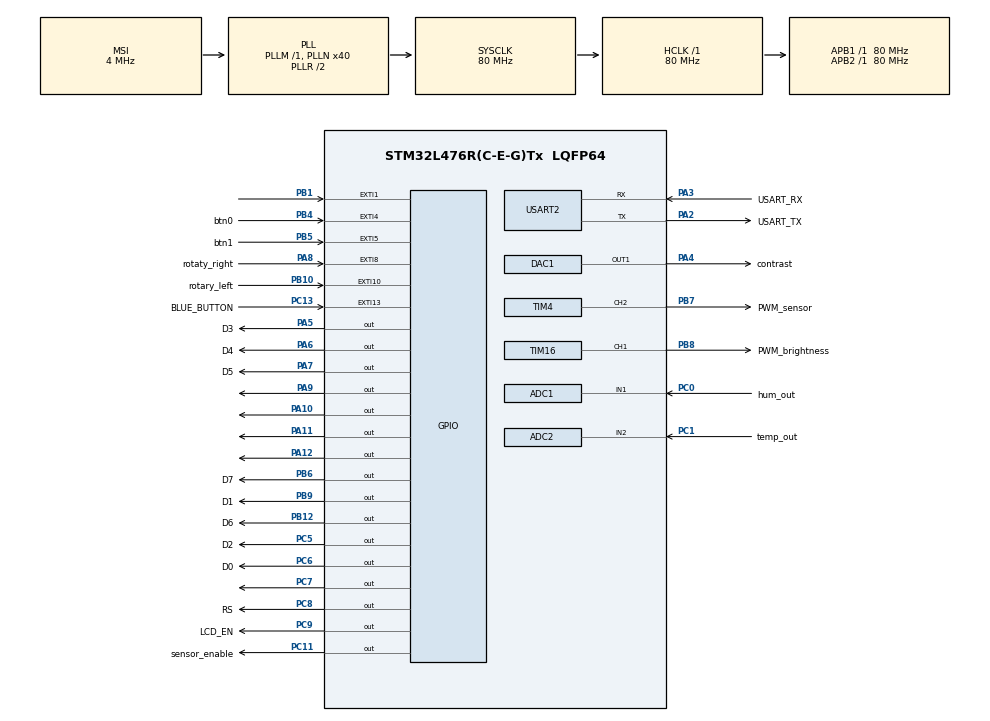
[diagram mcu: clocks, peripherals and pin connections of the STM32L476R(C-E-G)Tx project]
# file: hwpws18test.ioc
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ADC1.Channel-1\#ChannelRegularConversion=ADC_CHANNEL_1
ADC1.ClockPrescaler=ADC_CLOCK_ASYNC_DIV1
ADC1.ContinuousConvMode=DISABLE
ADC1.DMAContinuousRequests=DISABLE
ADC1.DataAlign=ADC_DATAALIGN_RIGHT
ADC1.DiscontinuousConvMode=DISABLE
ADC1.EOCSelection=ADC_EOC_SINGLE_CONV
ADC1.EnableAnalogWatchDog1=false
ADC1.EnableAnalogWatchDog2=false
ADC1.EnableAnalogWatchDog3=false
ADC1.EnableInjectedConversion=DISABLE
ADC1.EnableRegularConversion=ENABLE
ADC1.ExternalTrigConv=ADC_SOFTWARE_START
ADC1.ExternalTrigConvEdge=ADC_EXTERNALTRIGCONVEDGE_NONE
ADC1.LowPowerAutoWait=DISABLE
ADC1.NbrOfConversion=2
ADC1.NbrOfConversionFlag=1
ADC1.OffsetNumber-1\#ChannelRegularConversion=ADC_OFFSET_NONE
ADC1.Overrun=ADC_OVR_DATA_PRESERVED
ADC1.OversamplingMode=ENABLE
ADC1.Rank-1\#ChannelRegularConversion=2
ADC1.Ratio=ADC_OVERSAMPLING_RATIO_16
ADC1.Resolution=ADC_RESOLUTION_12B
ADC1.SamplingTime-1\#ChannelRegularConversion=ADC_SAMPLETIME_2CYCLES_5
ADC1.ScanConvMode=ADC_SCAN_ENABLE
ADC1.master=1
ADC2.Channel-4\#ChannelRegularConversion=ADC_CHANNEL_2
ADC2.ClockPrescaler=ADC_CLOCK_ASYNC_DIV1
ADC2.ContinuousConvMode=DISABLE
ADC2.DMAContinuousRequests=DISABLE
ADC2.DataAlign=ADC_DATAALIGN_RIGHT
ADC2.DiscontinuousConvMode=DISABLE
ADC2.EOCSelection=ADC_EOC_SINGLE_CONV
ADC2.EnableAnalogWatchDog1=false
ADC2.EnableAnalogWatchDog2=false
ADC2.EnableAnalogWatchDog3=false
ADC2.EnableInjectedConversion=DISABLE
ADC2.EnableRegularConversion=ENABLE
ADC2.ExternalTrigConv=ADC_SOFTWARE_START
ADC2.ExternalTrigConvEdge=ADC_EXTERNALTRIGCONVEDGE_NONE
ADC2.LowPowerAutoWait=DISABLE
ADC2.NbrOfConversion=1
ADC2.NbrOfConversionFlag=1
ADC2.OffsetNumber-4\#ChannelRegularConversion=ADC_OFFSET_NONE
ADC2.Overrun=ADC_OVR_DATA_PRESERVED
ADC2.OversamplingMode=ENABLE
ADC2.OversamplingStopReset=ADC_REGOVERSAMPLING_CONTINUED_MODE
ADC2.Rank-4\#ChannelRegularConversion=1
ADC2.Ratio=ADC_OVERSAMPLING_RATIO_16
ADC2.Resolution=ADC_RESOLUTION_12B
ADC2.RightBitShift=ADC_RIGHTBITSHIFT_NONE
ADC2.SamplingTime-4\#ChannelRegularConversion=ADC_SAMPLETIME_2CYCLES_5
ADC2.ScanConvMode=ADC_SCAN_DISABLE
ADC2.TriggeredMode=ADC_TRIGGEREDMODE_SINGLE_TRIGGER
FREERTOS.INCLUDE_uxTaskPriorityGet=0
FREERTOS.INCLUDE_vTaskDelayUntil=1
FREERTOS.INCLUDE_vTaskDelete=0
FREERTOS.INCLUDE_vTaskPrioritySet=0
FREERTOS.INCLUDE_xTaskGetSchedulerState=0
FREERTOS.MEMORY_ALLOCATION=1
FREERTOS.Queues01=defaultQueue,4,uint16_t,0,Static,defaultQueueBuffer,defaultQueueControlBlock;auxQueue,4,uint16_t,0,Static,auxQueueBuffer,auxQueueControlBlock
FREERTOS.Tasks01=defaultTask,0,512,defaultTaskFxn,Default,NULL,Static,defaultTaskBuffer,defaultTaskControlBlock;auxTask,0,512,auxTaskFxn,Default,NULL,Static,auxTaskFxnBuffer,auxTaskFxnControlBlock
FREERTOS.Timers01=timer01,timer01Callback,osTimerOnce,Default,NULL,Static,timer01ControlBlock
FREERTOS.configENABLE_BACKWARD_COMPATIBILITY=0
FREERTOS.configIDLE_SHOULD_YIELD=0
FREERTOS.configUSE_TICKLESS_IDLE=1
FREERTOS.configUSE_TIMERS=1
Mcu.Family=STM32L4
Mcu.Name=STM32L476R(C-E-G)Tx
Mcu.Package=LQFP64
NVIC.EXTI15_10_IRQn=true\:5\:0\:false\:false\:true\:true\:true
NVIC.EXTI1_IRQn=true\:0\:0\:false\:false\:true\:false\:true
NVIC.EXTI4_IRQn=true\:5\:0\:false\:false\:true\:true\:true
NVIC.EXTI9_5_IRQn=true\:5\:0\:false\:false\:true\:true\:true
NVIC.PriorityGroup=NVIC_PRIORITYGROUP_4
NVIC.TIM1_TRG_COM_TIM17_IRQn=true\:0\:0\:false\:false\:true\:false\:false
NVIC.TimeBase=TIM1_TRG_COM_TIM17_IRQn
NVIC.TimeBaseIP=TIM17
PA10.Signal=GPIO_Output
PA11.Signal=GPIO_Output
PA12.Signal=GPIO_Output
PA13\ (JTMS-SWDIO).GPIO_Label=TMS
PA13\ (JTMS-SWDIO).Mode=Serial_Wire
PA13\ (JTMS-SWDIO).Signal=SYS_JTMS-SWDIO
PA14\ (JTCK-SWCLK).GPIO_Label=TCK
PA14\ (JTCK-SWCLK).Mode=Serial_Wire
PA14\ (JTCK-SWCLK).Signal=SYS_JTCK-SWCLK
PA2.GPIO_Label=USART_TX
PA2.GPIO_PuPd=GPIO_NOPULL
PA2.GPIO_Speed=GPIO_SPEED_FREQ_VERY_HIGH
PA2.Mode=Asynchronous
PA2.Signal=USART2_TX
PA3.GPIO_Label=USART_RX
PA3.GPIO_PuPd=GPIO_NOPULL
PA3.GPIO_Speed=GPIO_SPEED_FREQ_VERY_HIGH
PA3.Mode=Asynchronous
PA3.Signal=USART2_RX
PA4.GPIO_Label=contrast
PA4.Signal=COMP_DAC11_group
PA5.GPIO_Label=D3
PA5.GPIO_PuPd=GPIO_PULLDOWN
PA5.Signal=GPIO_Output
PA6.GPIO_Label=D4
PA6.GPIO_PuPd=GPIO_NOPULL
PA6.Signal=GPIO_Output
PA7.GPIO_Label=D5
PA7.GPIO_PuPd=GPIO_NOPULL
PA7.Signal=GPIO_Output
PA8.GPIO_Label=rotaty_right
PA8.GPIO_ModeDefaultEXTI=GPIO_MODE_IT_FALLING
PA8.GPIO_PuPd=GPIO_PULLUP
PA8.Signal=GPXTI8
PA9.Signal=GPIO_Output
PB1.Signal=GPXTI1
PB10.GPIO_Label=rotary_left
PB10.GPIO_ModeDefaultEXTI=GPIO_MODE_IT_FALLING
PB10.GPIO_PuPd=GPIO_PULLUP
PB10.Signal=GPXTI10
PB12.GPIO_Label=D6
PB12.Signal=GPIO_Output
PB3\ (JTDO-TRACESWO).GPIO_Label=SWO
PB3\ (JTDO-TRACESWO).Signal=SYS_JTDO-SWO
PB4\ (NJTRST).GPIO_Label=btn0
PB4\ (NJTRST).GPIO_ModeDefaultEXTI=GPIO_MODE_IT_FALLING
PB4\ (NJTRST).GPIO_PuPd=GPIO_PULLUP
PB4\ (NJTRST).Signal=GPXTI4
PB5.GPIO_Label=btn1
PB5.GPIO_ModeDefaultEXTI=GPIO_MODE_IT_FALLING
PB5.GPIO_PuPd=GPIO_PULLUP
PB5.Signal=GPXTI5
PB6.GPIO_Label=D7
PB6.GPIO_PuPd=GPIO_NOPULL
PB6.Signal=GPIO_Output
PB7.GPIO_Label=PWM_sensor
PB7.Signal=S_TIM4_CH2
PB8.GPIO_Label=PWM_brightness
PB8.Signal=S_TIM16_CH1
PB9.GPIO_Label=D1
PB9.GPIO_PuPd=GPIO_PULLDOWN
PB9.Signal=GPIO_Output
PC0.GPIO_Label=hum_out
PC0.Signal=ADCx_IN1
PC1.GPIO_Label=temp_out
PC1.Signal=ADCx_IN2
PC11.GPIO_Label=sensor_enable
PC11.GPIO_PuPd=GPIO_PULLUP
PC11.Signal=GPIO_Output
PC13.GPIO_Label=BLUE_BUTTON
PC13.Signal=GPXTI13
PC14-OSC32_IN\ (PC14).Mode=LSE-External-Oscillator
PC14-OSC32_IN\ (PC14).Signal=RCC_OSC32_IN
PC15-OSC32_OUT\ (PC15).Mode=LSE-External-Oscillator
PC15-OSC32_OUT\ (PC15).Signal=RCC_OSC32_OUT
PC5.GPIO_Label=D2
PC5.GPIO_PuPd=GPIO_PULLDOWN
PC5.Signal=GPIO_Output
PC6.GPIO_Label=D0
PC6.GPIO_PuPd=GPIO_PULLDOWN
PC6.Signal=GPIO_Output
PC7.Signal=GPIO_Output
PC8.GPIO_Label=RS
PC8.Signal=GPIO_Output
PC9.GPIO_Label=LCD_EN
PC9.Signal=GPIO_Output
PH0-OSC_IN\ (PH0).Signal=RCC_OSC_IN
PH1-OSC_OUT\ (PH1).Signal=RCC_OSC_OUT
ProjectManager.HeapSize=0x200
ProjectManager.StackSize=0x400
ProjectManager.TargetToolchain=TrueSTUDIO
RCC.ADCFreq_Value=32000000
RCC.AHBFreq_Value=80000000
RCC.APB1Freq_Value=80000000
RCC.APB1TimFreq_Value=80000000
RCC.APB2Freq_Value=80000000
RCC.APB2TimFreq_Value=80000000
RCC.CortexFreq_Value=80000000
RCC.FLatency=FLASH_LATENCY_4
RCC.HCLKFreq_Value=80000000
RCC.HSE_VALUE=8000000
RCC.HSI_VALUE=16000000
RCC.MSIAutoCalibration=DISABLED
RCC.MSI_VALUE=4000000
RCC.PLLN=40
RCC.PLLSAI1N=16
RCC.PREFETCH_ENABLE=1
RCC.SYSCLKFreq_VALUE=80000000
RCC.SYSCLKSource=RCC_SYSCLKSOURCE_PLLCLK
RCC.USBFreq_Value=32000000
RCC.VCOOutputFreq_Value=160000000
SH.ADCx_IN1.0=ADC1_IN1,IN1-Single-Ended
SH.ADCx_IN2.0=ADC2_IN2,IN2-Single-Ended
SH.COMP_DAC11_group.0=DAC1_OUT1,DAC_OUT1
SH.S_TIM16_CH1.0=TIM16_CH1,PWM Generation1 CH1
SH.S_TIM4_CH2.0=TIM4_CH2,PWM Generation2 CH2
TIM16.Channel=TIM_CHANNEL_1
TIM16.Period=8000
TIM16.Pulse=4000
TIM4.AutoReloadPreload=TIM_AUTORELOAD_PRELOAD_ENABLE
TIM4.Channel-PWM\ Generation2\ CH2=TIM_CHANNEL_2
TIM4.OCFastMode_PWM-PWM\ Generation2\ CH2=TIM_OCFAST_ENABLE
TIM4.Period=190
TIM4.Pulse-PWM\ Generation2\ CH2=55
USART2.VirtualMode-Asynchronous=VM_ASYNC
VP_FREERTOS_VS_ENABLE.Mode=Enabled
VP_SYS_VS_tim17.Mode=TIM17
VP_TIM16_VS_ClockSourceINT.Mode=Enable_Timer
board=custom

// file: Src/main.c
/**
  ******************************************************************************
  * @file           : main.c
  * @brief          : Main program body
  ******************************************************************************
  * This notice applies to any and all portions of this file
  * that are not between comment pairs USER CODE BEGIN and
  * USER CODE END. Other portions of this file, whether
  * inserted by the user or by software development tools
  * are owned by their respective copyright owners.
  *
  * Copyright (c) 2019 STMicroelectronics International N.V.
  * All rights reserved.
  *
  * Redistribution and use in source and binary forms, with or without
  * modification, are permitted, provided that the following conditions are met:
  *
  * 1. Redistribution of source code must retain the above copyright notice,
  *    this list of conditions and the following disclaimer.
  * 2. Redistributions in binary form must reproduce the above copyright notice,
  *    this list of conditions and the following disclaimer in the documentation
  *    and/or other materials provided with the distribution.
  * 3. Neither the name of STMicroelectronics nor the names of other
  *    contributors to this software may be used to endorse or promote products
  *    derived from this software without specific written permission.
  * 4. This software, including modifications and/or derivative works of this
  *    software, must execute solely and exclusively on microcontroller or
  *    microprocessor devices manufactured by or for STMicroelectronics.
  * 5. Redistribution and use of this software other than as permitted under
  *    this license is void and will automatically terminate your rights under
  *    this license.
  *
  * THIS SOFTWARE IS PROVIDED BY STMICROELECTRONICS AND CONTRIBUTORS "AS IS"
  * AND ANY EXPRESS, IMPLIED OR STATUTORY WARRANTIES, INCLUDING, BUT NOT
  * LIMITED TO, THE IMPLIED WARRANTIES OF MERCHANTABILITY, FITNESS FOR A
  * PARTICULAR PURPOSE AND NON-INFRINGEMENT OF THIRD PARTY INTELLECTUAL PROPERTY
  * RIGHTS ARE DISCLAIMED TO THE FULLEST EXTENT PERMITTED BY LAW. IN NO EVENT
  * SHALL STMICROELECTRONICS OR CONTRIBUTORS BE LIABLE FOR ANY DIRECT, INDIRECT,
  * INCIDENTAL, SPECIAL, EXEMPLARY, OR CONSEQUENTIAL DAMAGES (INCLUDING, BUT NOT
  * LIMITED TO, PROCUREMENT OF SUBSTITUTE GOODS OR SERVICES; LOSS OF USE, DATA,
  * OR PROFITS; OR BUSINESS INTERRUPTION) HOWEVER CAUSED AND ON ANY THEORY OF
  * LIABILITY, WHETHER IN CONTRACT, STRICT LIABILITY, OR TORT (INCLUDING
  * NEGLIGENCE OR OTHERWISE) ARISING IN ANY WAY OUT OF THE USE OF THIS SOFTWARE,
  * EVEN IF ADVISED OF THE POSSIBILITY OF SUCH DAMAGE.
  *
  ******************************************************************************
  */
#include "main.h"
#include "stm32l4xx_hal.h"
#include "cmsis_os.h"

/* USER CODE BEGIN Includes */
#include <stdio.h>
#include "tm_stm32_hd44780.h"
/* USER CODE END Includes */

ADC_HandleTypeDef hadc1;
ADC_HandleTypeDef hadc2;

DAC_HandleTypeDef hdac1;

TIM_HandleTypeDef htim4;
TIM_HandleTypeDef htim16;

UART_HandleTypeDef huart2;

osThreadId defaultTaskHandle;
uint32_t defaultTaskBuffer[ 512 ];
osStaticThreadDef_t defaultTaskControlBlock;
osThreadId auxTaskHandle;
uint32_t auxTaskFxnBuffer[ 512 ];
osStaticThreadDef_t auxTaskFxnControlBlock;
osMessageQId defaultQueueHandle;
uint8_t defaultQueueBuffer[ 4 * sizeof( uint16_t ) ];
osStaticMessageQDef_t defaultQueueControlBlock;
osMessageQId auxQueueHandle;
uint8_t auxQueueBuffer[ 4 * sizeof( uint16_t ) ];
osStaticMessageQDef_t auxQueueControlBlock;
osTimerId timer01Handle;
osStaticTimerDef_t timer01ControlBlock;

/* USER CODE BEGIN PV */
/* Private variables ---------------------------------------------------------*/

/* USER CODE END PV */

void SystemClock_Config(void);
static void MX_GPIO_Init(void);
static void MX_DAC1_Init(void);
static void MX_TIM16_Init(void);
static void MX_ADC1_Init(void);
static void MX_USART2_UART_Init(void);
static void MX_TIM4_Init(void);
static void MX_ADC2_Init(void);
void defaultTaskFxn(void const * argument);
void auxTaskFxn(void const * argument);
void timer01Callback(void const * argument);

void HAL_TIM_MspPostInit(TIM_HandleTypeDef *htim);

/* USER CODE BEGIN PFP */
/* Private function prototypes -----------------------------------------------*/

/* USER CODE END PFP */

/* USER CODE BEGIN 0 */

struct Option{
	char name[8];
	uint32_t value;
	uint32_t incr;
	uint32_t min;
	uint32_t max;
};

/* USER CODE END 0 */

int main(void)
{

  /* MCU Configuration----------------------------------------------------------*/

  /* Reset of all peripherals, Initializes the Flash interface and the Systick. */
  HAL_Init();

  /* Configure the system clock */
  SystemClock_Config();

  /* Initialize all configured peripherals */
  MX_GPIO_Init();
  MX_DAC1_Init();
  MX_TIM16_Init();
  MX_ADC1_Init();
  MX_USART2_UART_Init();
  MX_TIM4_Init();
  MX_ADC2_Init();

  /* Create the timer(s) */
  /* definition and creation of timer01 */
  osTimerStaticDef(timer01, timer01Callback, &timer01ControlBlock);
  timer01Handle = osTimerCreate(osTimer(timer01), osTimerOnce, NULL);

  /* Create the thread(s) */
  /* definition and creation of defaultTask */
  osThreadStaticDef(defaultTask, defaultTaskFxn, osPriorityNormal, 0, 512, defaultTaskBuffer, &defaultTaskControlBlock);
  defaultTaskHandle = osThreadCreate(osThread(defaultTask), NULL);

  /* definition and creation of auxTask */
  osThreadStaticDef(auxTask, auxTaskFxn, osPriorityNormal, 0, 512, auxTaskFxnBuffer, &auxTaskFxnControlBlock);
  auxTaskHandle = osThreadCreate(osThread(auxTask), NULL);

  /* Create the queue(s) */
  /* definition and creation of defaultQueue */
  osMessageQStaticDef(defaultQueue, 4, uint16_t, defaultQueueBuffer, &defaultQueueControlBlock);
  defaultQueueHandle = osMessageCreate(osMessageQ(defaultQueue), NULL);

  /* definition and creation of auxQueue */
  osMessageQStaticDef(auxQueue, 4, uint16_t, auxQueueBuffer, &auxQueueControlBlock);
  auxQueueHandle = osMessageCreate(osMessageQ(auxQueue), NULL);

  /* Start scheduler */
  osKernelStart();

  /* We should never get here as control is now taken by the scheduler */

  /* Infinite loop */
	while (1)
	{

	}

}

void SystemClock_Config(void)
{

  RCC_OscInitTypeDef RCC_OscInitStruct;
  RCC_ClkInitTypeDef RCC_ClkInitStruct;
  RCC_PeriphCLKInitTypeDef PeriphClkInit;

    /**Initializes the CPU, AHB and APB busses clocks
    */
  RCC_OscInitStruct.OscillatorType = RCC_OSCILLATORTYPE_MSI;
  RCC_OscInitStruct.MSIState = RCC_MSI_ON;
  RCC_OscInitStruct.MSICalibrationValue = 0;
  RCC_OscInitStruct.MSIClockRange = RCC_MSIRANGE_6;
  RCC_OscInitStruct.PLL.PLLState = RCC_PLL_ON;
  RCC_OscInitStruct.PLL.PLLSource = RCC_PLLSOURCE_MSI;
  RCC_OscInitStruct.PLL.PLLM = 1;
  RCC_OscInitStruct.PLL.PLLN = 40;
  RCC_OscInitStruct.PLL.PLLP = RCC_PLLP_DIV7;
  RCC_OscInitStruct.PLL.PLLQ = RCC_PLLQ_DIV2;
  RCC_OscInitStruct.PLL.PLLR = RCC_PLLR_DIV2;
  if (HAL_RCC_OscConfig(&RCC_OscInitStruct) != HAL_OK)
  {
    _Error_Handler(__FILE__, __LINE__);
  }

    /**Initializes the CPU, AHB and APB busses clocks
    */
  RCC_ClkInitStruct.ClockType = RCC_CLOCKTYPE_HCLK|RCC_CLOCKTYPE_SYSCLK
                              |RCC_CLOCKTYPE_PCLK1|RCC_CLOCKTYPE_PCLK2;
  RCC_ClkInitStruct.SYSCLKSource = RCC_SYSCLKSOURCE_PLLCLK;
  RCC_ClkInitStruct.AHBCLKDivider = RCC_SYSCLK_DIV1;
  RCC_ClkInitStruct.APB1CLKDivider = RCC_HCLK_DIV1;
  RCC_ClkInitStruct.APB2CLKDivider = RCC_HCLK_DIV1;

  if (HAL_RCC_ClockConfig(&RCC_ClkInitStruct, FLASH_LATENCY_4) != HAL_OK)
  {
    _Error_Handler(__FILE__, __LINE__);
  }

  PeriphClkInit.PeriphClockSelection = RCC_PERIPHCLK_USART2|RCC_PERIPHCLK_ADC;
  PeriphClkInit.Usart2ClockSelection = RCC_USART2CLKSOURCE_PCLK1;
  PeriphClkInit.AdcClockSelection = RCC_ADCCLKSOURCE_PLLSAI1;
  PeriphClkInit.PLLSAI1.PLLSAI1Source = RCC_PLLSOURCE_MSI;
  PeriphClkInit.PLLSAI1.PLLSAI1M = 1;
  PeriphClkInit.PLLSAI1.PLLSAI1N = 16;
  PeriphClkInit.PLLSAI1.PLLSAI1P = RCC_PLLP_DIV7;
  PeriphClkInit.PLLSAI1.PLLSAI1Q = RCC_PLLQ_DIV2;
  PeriphClkInit.PLLSAI1.PLLSAI1R = RCC_PLLR_DIV2;
  PeriphClkInit.PLLSAI1.PLLSAI1ClockOut = RCC_PLLSAI1_ADC1CLK;
  if (HAL_RCCEx_PeriphCLKConfig(&PeriphClkInit) != HAL_OK)
  {
    _Error_Handler(__FILE__, __LINE__);
  }

    /**Configure the main internal regulator output voltage
    */
  if (HAL_PWREx_ControlVoltageScaling(PWR_REGULATOR_VOLTAGE_SCALE1) != HAL_OK)
  {
    _Error_Handler(__FILE__, __LINE__);
  }

    /**Configure the Systick interrupt time
    */
  HAL_SYSTICK_Config(HAL_RCC_GetHCLKFreq()/1000);

    /**Configure the Systick
    */
  HAL_SYSTICK_CLKSourceConfig(SYSTICK_CLKSOURCE_HCLK);

  /* SysTick_IRQn interrupt configuration */
  HAL_NVIC_SetPriority(SysTick_IRQn, 15, 0);
}

/* ADC1 init function */
static void MX_ADC1_Init(void)
{

  ADC_MultiModeTypeDef multimode;
  ADC_ChannelConfTypeDef sConfig;

    /**Common config
    */
  hadc1.Instance = ADC1;
  hadc1.Init.ClockPrescaler = ADC_CLOCK_ASYNC_DIV1;
  hadc1.Init.Resolution = ADC_RESOLUTION_12B;
  hadc1.Init.DataAlign = ADC_DATAALIGN_RIGHT;
  hadc1.Init.ScanConvMode = ADC_SCAN_ENABLE;
  hadc1.Init.EOCSelection = ADC_EOC_SINGLE_CONV;
  hadc1.Init.LowPowerAutoWait = DISABLE;
  hadc1.Init.ContinuousConvMode = DISABLE;
  hadc1.Init.NbrOfConversion = 2;
  hadc1.Init.DiscontinuousConvMode = DISABLE;
  hadc1.Init.ExternalTrigConv = ADC_SOFTWARE_START;
  hadc1.Init.ExternalTrigConvEdge = ADC_EXTERNALTRIGCONVEDGE_NONE;
  hadc1.Init.DMAContinuousRequests = DISABLE;
  hadc1.Init.Overrun = ADC_OVR_DATA_PRESERVED;
  hadc1.Init.OversamplingMode = ENABLE;
  hadc1.Init.Oversampling.Ratio = ADC_OVERSAMPLING_RATIO_16;
  hadc1.Init.Oversampling.RightBitShift = ADC_RIGHTBITSHIFT_NONE;
  hadc1.Init.Oversampling.TriggeredMode = ADC_TRIGGEREDMODE_SINGLE_TRIGGER;
  hadc1.Init.Oversampling.OversamplingStopReset = ADC_REGOVERSAMPLING_CONTINUED_MODE;
  if (HAL_ADC_Init(&hadc1) != HAL_OK)
  {
    _Error_Handler(__FILE__, __LINE__);
  }

    /**Configure the ADC multi-mode
    */
  multimode.Mode = ADC_MODE_INDEPENDENT;
  if (HAL_ADCEx_MultiModeConfigChannel(&hadc1, &multimode) != HAL_OK)
  {
    _Error_Handler(__FILE__, __LINE__);
  }

    /**Configure Regular Channel
    */
  sConfig.Channel = ADC_CHANNEL_1;
  sConfig.Rank = ADC_REGULAR_RANK_2;
  sConfig.SamplingTime = ADC_SAMPLETIME_2CYCLES_5;
  sConfig.SingleDiff = ADC_SINGLE_ENDED;
  sConfig.OffsetNumber = ADC_OFFSET_NONE;
  sConfig.Offset = 0;
  if (HAL_ADC_ConfigChannel(&hadc1, &sConfig) != HAL_OK)
  {
    _Error_Handler(__FILE__, __LINE__);
  }

}

/* ADC2 init function */
static void MX_ADC2_Init(void)
{

  ADC_ChannelConfTypeDef sConfig;

    /**Common config
    */
  hadc2.Instance = ADC2;
  hadc2.Init.ClockPrescaler = ADC_CLOCK_ASYNC_DIV1;
  hadc2.Init.Resolution = ADC_RESOLUTION_12B;
  hadc2.Init.DataAlign = ADC_DATAALIGN_RIGHT;
  hadc2.Init.ScanConvMode = ADC_SCAN_DISABLE;
  hadc2.Init.EOCSelection = ADC_EOC_SINGLE_CONV;
  hadc2.Init.LowPowerAutoWait = DISABLE;
  hadc2.Init.ContinuousConvMode = DISABLE;
  hadc2.Init.NbrOfConversion = 1;
  hadc2.Init.DiscontinuousConvMode = DISABLE;
  hadc2.Init.ExternalTrigConv = ADC_SOFTWARE_START;
  hadc2.Init.ExternalTrigConvEdge = ADC_EXTERNALTRIGCONVEDGE_NONE;
  hadc2.Init.DMAContinuousRequests = DISABLE;
  hadc2.Init.Overrun = ADC_OVR_DATA_PRESERVED;
  hadc2.Init.OversamplingMode = ENABLE;
  hadc2.Init.Oversampling.Ratio = ADC_OVERSAMPLING_RATIO_16;
  hadc2.Init.Oversampling.RightBitShift = ADC_RIGHTBITSHIFT_NONE;
  hadc2.Init.Oversampling.TriggeredMode = ADC_TRIGGEREDMODE_SINGLE_TRIGGER;
  hadc2.Init.Oversampling.OversamplingStopReset = ADC_REGOVERSAMPLING_CONTINUED_MODE;
  if (HAL_ADC_Init(&hadc2) != HAL_OK)
  {
    _Error_Handler(__FILE__, __LINE__);
  }

    /**Configure Regular Channel
    */
  sConfig.Channel = ADC_CHANNEL_2;
  sConfig.Rank = ADC_REGULAR_RANK_1;
  sConfig.SamplingTime = ADC_SAMPLETIME_2CYCLES_5;
  sConfig.SingleDiff = ADC_SINGLE_ENDED;
  sConfig.OffsetNumber = ADC_OFFSET_NONE;
  sConfig.Offset = 0;
  if (HAL_ADC_ConfigChannel(&hadc2, &sConfig) != HAL_OK)
  {
    _Error_Handler(__FILE__, __LINE__);
  }

}

/* DAC1 init function */
static void MX_DAC1_Init(void)
{

  DAC_ChannelConfTypeDef sConfig;

    /**DAC Initialization
    */
  hdac1.Instance = DAC1;
  if (HAL_DAC_Init(&hdac1) != HAL_OK)
  {
    _Error_Handler(__FILE__, __LINE__);
  }

    /**DAC channel OUT1 config
    */
  sConfig.DAC_SampleAndHold = DAC_SAMPLEANDHOLD_DISABLE;
  sConfig.DAC_Trigger = DAC_TRIGGER_NONE;
  sConfig.DAC_OutputBuffer = DAC_OUTPUTBUFFER_ENABLE;
  sConfig.DAC_ConnectOnChipPeripheral = DAC_CHIPCONNECT_DISABLE;
  sConfig.DAC_UserTrimming = DAC_TRIMMING_FACTORY;
  if (HAL_DAC_ConfigChannel(&hdac1, &sConfig, DAC_CHANNEL_1) != HAL_OK)
  {
    _Error_Handler(__FILE__, __LINE__);
  }

}

/* TIM4 init function */
static void MX_TIM4_Init(void)
{

  TIM_MasterConfigTypeDef sMasterConfig;
  TIM_OC_InitTypeDef sConfigOC;

  htim4.Instance = TIM4;
  htim4.Init.Prescaler = 0;
  htim4.Init.CounterMode = TIM_COUNTERMODE_UP;
  htim4.Init.Period = 190;
  htim4.Init.ClockDivision = TIM_CLOCKDIVISION_DIV1;
  htim4.Init.AutoReloadPreload = TIM_AUTORELOAD_PRELOAD_ENABLE;
  if (HAL_TIM_PWM_Init(&htim4) != HAL_OK)
  {
    _Error_Handler(__FILE__, __LINE__);
  }

  sMasterConfig.MasterOutputTrigger = TIM_TRGO_RESET;
  sMasterConfig.MasterSlaveMode = TIM_MASTERSLAVEMODE_DISABLE;
  if (HAL_TIMEx_MasterConfigSynchronization(&htim4, &sMasterConfig) != HAL_OK)
  {
    _Error_Handler(__FILE__, __LINE__);
  }

  sConfigOC.OCMode = TIM_OCMODE_PWM1;
  sConfigOC.Pulse = 55;
  sConfigOC.OCPolarity = TIM_OCPOLARITY_HIGH;
  sConfigOC.OCFastMode = TIM_OCFAST_ENABLE;
  if (HAL_TIM_PWM_ConfigChannel(&htim4, &sConfigOC, TIM_CHANNEL_2) != HAL_OK)
  {
    _Error_Handler(__FILE__, __LINE__);
  }

  HAL_TIM_MspPostInit(&htim4);

}

/* TIM16 init function */
static void MX_TIM16_Init(void)
{

  TIM_OC_InitTypeDef sConfigOC;
  TIM_BreakDeadTimeConfigTypeDef sBreakDeadTimeConfig;

  htim16.Instance = TIM16;
  htim16.Init.Prescaler = 0;
  htim16.Init.CounterMode = TIM_COUNTERMODE_UP;
  htim16.Init.Period = 8000;
  htim16.Init.ClockDivision = TIM_CLOCKDIVISION_DIV1;
  htim16.Init.RepetitionCounter = 0;
  htim16.Init.AutoReloadPreload = TIM_AUTORELOAD_PRELOAD_DISABLE;
  if (HAL_TIM_Base_Init(&htim16) != HAL_OK)
  {
    _Error_Handler(__FILE__, __LINE__);
  }

  if (HAL_TIM_PWM_Init(&htim16) != HAL_OK)
  {
    _Error_Handler(__FILE__, __LINE__);
  }

  sConfigOC.OCMode = TIM_OCMODE_PWM1;
  sConfigOC.Pulse = 4000;
  sConfigOC.OCPolarity = TIM_OCPOLARITY_HIGH;
  sConfigOC.OCNPolarity = TIM_OCNPOLARITY_HIGH;
  sConfigOC.OCFastMode = TIM_OCFAST_DISABLE;
  sConfigOC.OCIdleState = TIM_OCIDLESTATE_RESET;
  sConfigOC.OCNIdleState = TIM_OCNIDLESTATE_RESET;
  if (HAL_TIM_PWM_ConfigChannel(&htim16, &sConfigOC, TIM_CHANNEL_1) != HAL_OK)
  {
    _Error_Handler(__FILE__, __LINE__);
  }

  sBreakDeadTimeConfig.OffStateRunMode = TIM_OSSR_DISABLE;
  sBreakDeadTimeConfig.OffStateIDLEMode = TIM_OSSI_DISABLE;
  sBreakDeadTimeConfig.LockLevel = TIM_LOCKLEVEL_OFF;
  sBreakDeadTimeConfig.DeadTime = 0;
  sBreakDeadTimeConfig.BreakState = TIM_BREAK_DISABLE;
  sBreakDeadTimeConfig.BreakPolarity = TIM_BREAKPOLARITY_HIGH;
  sBreakDeadTimeConfig.BreakFilter = 0;
  sBreakDeadTimeConfig.AutomaticOutput = TIM_AUTOMATICOUTPUT_DISABLE;
  if (HAL_TIMEx_ConfigBreakDeadTime(&htim16, &sBreakDeadTimeConfig) != HAL_OK)
  {
    _Error_Handler(__FILE__, __LINE__);
  }

  HAL_TIM_MspPostInit(&htim16);

}

/* USART2 init function */
static void MX_USART2_UART_Init(void)
{

  huart2.Instance = USART2;
  huart2.Init.BaudRate = 115200;
  huart2.Init.WordLength = UART_WORDLENGTH_8B;
  huart2.Init.StopBits = UART_STOPBITS_1;
  huart2.Init.Parity = UART_PARITY_NONE;
  huart2.Init.Mode = UART_MODE_TX_RX;
  huart2.Init.HwFlowCtl = UART_HWCONTROL_NONE;
  huart2.Init.OverSampling = UART_OVERSAMPLING_16;
  huart2.Init.OneBitSampling = UART_ONE_BIT_SAMPLE_DISABLE;
  huart2.AdvancedInit.AdvFeatureInit = UART_ADVFEATURE_NO_INIT;
  if (HAL_UART_Init(&huart2) != HAL_OK)
  {
    _Error_Handler(__FILE__, __LINE__);
  }

}

/** Configure pins as
        * Analog
        * Input
        * Output
        * EVENT_OUT
        * EXTI
*/
static void MX_GPIO_Init(void)
{

  GPIO_InitTypeDef GPIO_InitStruct;

  /* GPIO Ports Clock Enable */
  __HAL_RCC_GPIOC_CLK_ENABLE();
  __HAL_RCC_GPIOH_CLK_ENABLE();
  __HAL_RCC_GPIOA_CLK_ENABLE();
  __HAL_RCC_GPIOB_CLK_ENABLE();

  /*Configure GPIO pin Output Level */
  HAL_GPIO_WritePin(GPIOA, D3_Pin|D4_Pin|D5_Pin|GPIO_PIN_9
                          |GPIO_PIN_10|GPIO_PIN_11|GPIO_PIN_12, GPIO_PIN_RESET);

  /*Configure GPIO pin Output Level */
  HAL_GPIO_WritePin(GPIOC, D2_Pin|D0_Pin|GPIO_PIN_7|RS_Pin
                          |LCD_EN_Pin|sensor_enable_Pin, GPIO_PIN_RESET);

  /*Configure GPIO pin Output Level */
  HAL_GPIO_WritePin(GPIOB, D6_Pin|D7_Pin|D1_Pin, GPIO_PIN_RESET);

  /*Configure GPIO pin : BLUE_BUTTON_Pin */
  GPIO_InitStruct.Pin = BLUE_BUTTON_Pin;
  GPIO_InitStruct.Mode = GPIO_MODE_IT_RISING;
  GPIO_InitStruct.Pull = GPIO_NOPULL;
  HAL_GPIO_Init(BLUE_BUTTON_GPIO_Port, &GPIO_InitStruct);

  /*Configure GPIO pin : D3_Pin */
  GPIO_InitStruct.Pin = D3_Pin;
  GPIO_InitStruct.Mode = GPIO_MODE_OUTPUT_PP;
  GPIO_InitStruct.Pull = GPIO_PULLDOWN;
  GPIO_InitStruct.Speed = GPIO_SPEED_FREQ_LOW;
  HAL_GPIO_Init(D3_GPIO_Port, &GPIO_InitStruct);

  /*Configure GPIO pins : D4_Pin D5_Pin PA9 PA10
                           PA11 PA12 */
  GPIO_InitStruct.Pin = D4_Pin|D5_Pin|GPIO_PIN_9|GPIO_PIN_10
                          |GPIO_PIN_11|GPIO_PIN_12;
  GPIO_InitStruct.Mode = GPIO_MODE_OUTPUT_PP;
  GPIO_InitStruct.Pull = GPIO_NOPULL;
  GPIO_InitStruct.Speed = GPIO_SPEED_FREQ_LOW;
  HAL_GPIO_Init(GPIOA, &GPIO_InitStruct);

  /*Configure GPIO pins : D2_Pin D0_Pin */
  GPIO_InitStruct.Pin = D2_Pin|D0_Pin;
  GPIO_InitStruct.Mode = GPIO_MODE_OUTPUT_PP;
  GPIO_InitStruct.Pull = GPIO_PULLDOWN;
  GPIO_InitStruct.Speed = GPIO_SPEED_FREQ_LOW;
  HAL_GPIO_Init(GPIOC, &GPIO_InitStruct);

  /*Configure GPIO pin : PB1 */
  GPIO_InitStruct.Pin = GPIO_PIN_1;
  GPIO_InitStruct.Mode = GPIO_MODE_IT_RISING;
  GPIO_InitStruct.Pull = GPIO_NOPULL;
  HAL_GPIO_Init(GPIOB, &GPIO_InitStruct);

  /*Configure GPIO pins : rotary_left_Pin btn0_Pin btn1_Pin */
  GPIO_InitStruct.Pin = rotary_left_Pin|btn0_Pin|btn1_Pin;
  GPIO_InitStruct.Mode = GPIO_MODE_IT_FALLING;
  GPIO_InitStruct.Pull = GPIO_PULLUP;
  HAL_GPIO_Init(GPIOB, &GPIO_InitStruct);

  /*Configure GPIO pins : D6_Pin D7_Pin */
  GPIO_InitStruct.Pin = D6_Pin|D7_Pin;
  GPIO_InitStruct.Mode = GPIO_MODE_OUTPUT_PP;
  GPIO_InitStruct.Pull = GPIO_NOPULL;
  GPIO_InitStruct.Speed = GPIO_SPEED_FREQ_LOW;
  HAL_GPIO_Init(GPIOB, &GPIO_InitStruct);

  /*Configure GPIO pins : PC7 RS_Pin LCD_EN_Pin */
  GPIO_InitStruct.Pin = GPIO_PIN_7|RS_Pin|LCD_EN_Pin;
  GPIO_InitStruct.Mode = GPIO_MODE_OUTPUT_PP;
  GPIO_InitStruct.Pull = GPIO_NOPULL;
  GPIO_InitStruct.Speed = GPIO_SPEED_FREQ_LOW;
  HAL_GPIO_Init(GPIOC, &GPIO_InitStruct);

  /*Configure GPIO pin : rotaty_right_Pin */
  GPIO_InitStruct.Pin = rotaty_right_Pin;
  GPIO_InitStruct.Mode = GPIO_MODE_IT_FALLING;
  GPIO_InitStruct.Pull = GPIO_PULLUP;
  HAL_GPIO_Init(rotaty_right_GPIO_Port, &GPIO_InitStruct);

  /*Configure GPIO pin : sensor_enable_Pin */
  GPIO_InitStruct.Pin = sensor_enable_Pin;
  GPIO_InitStruct.Mode = GPIO_MODE_OUTPUT_PP;
  GPIO_InitStruct.Pull = GPIO_PULLUP;
  GPIO_InitStruct.Speed = GPIO_SPEED_FREQ_LOW;
  HAL_GPIO_Init(sensor_enable_GPIO_Port, &GPIO_InitStruct);

  /*Configure GPIO pin : D1_Pin */
  GPIO_InitStruct.Pin = D1_Pin;
  GPIO_InitStruct.Mode = GPIO_MODE_OUTPUT_PP;
  GPIO_InitStruct.Pull = GPIO_PULLDOWN;
  GPIO_InitStruct.Speed = GPIO_SPEED_FREQ_LOW;
  HAL_GPIO_Init(D1_GPIO_Port, &GPIO_InitStruct);

  /* EXTI interrupt init*/
  HAL_NVIC_SetPriority(EXTI1_IRQn, 0, 0);
  HAL_NVIC_EnableIRQ(EXTI1_IRQn);

  HAL_NVIC_SetPriority(EXTI4_IRQn, 5, 0);
  HAL_NVIC_EnableIRQ(EXTI4_IRQn);

  HAL_NVIC_SetPriority(EXTI9_5_IRQn, 5, 0);
  HAL_NVIC_EnableIRQ(EXTI9_5_IRQn);

  HAL_NVIC_SetPriority(EXTI15_10_IRQn, 5, 0);
  HAL_NVIC_EnableIRQ(EXTI15_10_IRQn);

}

/* USER CODE BEGIN 4 */

uint8_t db_button1_block = 0;
uint8_t db_button2_block = 0;

void HAL_GPIO_EXTI_Callback(uint16_t GPIO_Pin)
{
	BaseType_t token = pdFALSE;
	uint16_t data = GPIO_Pin;
	xQueueSendToBackFromISR(auxQueueHandle, &data, &token);
}

/* USER CODE END 4 */

void defaultTaskFxn(void const * argument)
{

  /* USER CODE BEGIN 5 */
	/* Infinite loop */
	/*
	 */
#define NUM_OPT 4

	uint16_t data = 0;
	uint32_t contrast = 992; //contrast 0-4096
	uint32_t brightness = 4000;
	uint32_t sens_pwm_counter;
	uint32_t sens_pwm_compare;
	uint32_t hum = 0;
	uint32_t hum_l = 0;
	uint32_t hum_r = 0;
	uint32_t temp= 0;
	uint32_t temp_l= 0;
	uint32_t temp_r= 0;
	uint32_t temp_mV;

	//Option = {"name", value, incr, min, max}
	struct Option opt_list[NUM_OPT] = {
			{"brightn", 4000, 100, 0, 4096},
			{"contrst", 992, 100, 0, 4096},
			{"s pwm f", 250000, 5000, 200000, 500000}, //sensor pwm frequency
			{"s pwm D", 15, 2, 0, 100} //sensor pwm duty cycle 0-100%
	};

	//mode = 0: show humidity and temp
	//mode = 1: options
	uint8_t mode = 0;
	uint8_t opt_sel= 0;
	uint8_t selected = 0;

	unsigned char hum_str[16] = "";
	unsigned char temp_str[16] = "";

	HAL_DAC_Start(&hdac1, DAC_CHANNEL_1);
	HAL_TIM_PWM_Start(&htim16, TIM_CHANNEL_1); // to brightness
	HAL_GPIO_WritePin(sensor_enable_GPIO_Port, sensor_enable_Pin, GPIO_PIN_SET);
	TM_HD44780_Init(16, 2);
	for(;;)
	{

		unsigned char text[25] = "";
		data = 0;
		xQueueReceive(defaultQueueHandle, &data, 500);

		if(mode == 0){
			switch (data) {
			case 1024: //rotary encoder left
				snprintf(text, 15, "Left");
				break;

			case 256: //rotary encoder right
				snprintf(text, 15, "Right");
				break;

			case 16: // button on rotary encoder
				break;

			case 32: // lone button
				mode = 1;
				selected = 0;
				break;
			default:
				break;
			}

			HAL_TIM_PWM_Start(&htim4, TIM_CHANNEL_2); // to sensor
			osDelay(100);
			HAL_ADC_Start(&hadc1);
			HAL_StatusTypeDef status = HAL_ADC_PollForConversion(&hadc1, 100);
			while(status == HAL_BUSY) {
			}
			osDelay(10);
			hum = HAL_ADC_GetValue(&hadc1);
			hum = hum / 16;// compensation for oversampling
			HAL_TIM_PWM_Stop(&htim4, TIM_CHANNEL_2);
			hum_l = hum / 100;
			hum_r = hum - hum_l * 100;
			osDelay(100);

			HAL_ADC_Start(&hadc2);
			status = HAL_ADC_PollForConversion(&hadc2, 100);
			while(status == HAL_BUSY) {
			}
			temp = HAL_ADC_GetValue(&hadc2);
			temp = temp / 16; //compensation for oversampling
			float x = 725.0/812.0;
			temp_mV = temp * x; // to millivolts
			if(temp_mV < 500){
				temp = 111111111; //for debug
			}
			else{
				temp = (temp_mV - 500);  // to celcius*10
			}

			temp_l = temp / 10; //left side
			temp_r = temp - temp_l*10; //right side, after decimal point

			snprintf(hum_str, 16, "Hum:  %lu.%lu         ", (unsigned long)hum_l, (unsigned long)hum_r);
			if(temp == 111111111){
				snprintf(temp_str, 16, "Temp: No reading!       ");
			}
			else{
				snprintf(temp_str, 16, "Temp: %lu.%lu %cC       ", (unsigned long)temp_l, (unsigned long)temp_r, (char)223);
			}
			TM_HD44780_Puts(0, 0, hum_str);
			TM_HD44780_Puts(0, 1, temp_str);
			HAL_UART_Transmit(&huart2, hum_str,
					sizeof(hum_str) ,1);
		}

		else if(mode == 1){
			//currently shown option is indicated by opt_sel
			//the value can be changed with rotary if selected = true

			struct Option sel1 = opt_list[opt_sel];
			struct Option sel2 = opt_list[opt_sel + 1];

			switch (data) {
			case 1024: //rotary encoder left
				if(selected){
					if(sel1.value <= (sel1.min +sel1.incr)){
						sel1.value = sel1.min;
					}
					else{
						sel1.value = sel1.value - sel1.incr;
					}

					opt_list[opt_sel] = sel1;
				}
				else{
					if(opt_sel <= 1){
						opt_sel = 0;
					}
					else{
						opt_sel = opt_sel - 1;
					}
				}
				break;

			case 256: //rotary encoder right
				if(selected){
					sel1.value = sel1.value + sel1.incr;

					if(sel1.value > sel1.max){
						sel1.value = sel1.max;
					}
					opt_list[opt_sel] = sel1;
				}
				else{
					opt_sel = opt_sel + 1;
					if(opt_sel > NUM_OPT-1){
						opt_sel = NUM_OPT-1;
					}
				}
				break;

			case 16: // button on rotary encoder
				selected = (selected == 1 ? 0: 1); //toggle
				if(selected){
					TM_HD44780_CursorOn();
				}
				else{
					TM_HD44780_CursorOff();
				}
				break;

			case 32: // lone button
				mode = 0;
				opt_sel = 0;
				break;
			default:
				break;
			}

			sel1 = opt_list[opt_sel];
			sel2 = opt_list[opt_sel + 1];

			unsigned char lcd_top[16] = "";
			unsigned char lcd_bot[16] = "";
			snprintf(lcd_top, 16, "%c%s %lu             ",(char)126, sel1.name, sel1.value);
			if(opt_sel + 1 == NUM_OPT){
				// when the last option is on top row, just print empty line on the bottom
				snprintf(lcd_bot, 16, "                   ");
			}
			else{
				snprintf(lcd_bot, 16, "%s %lu             ", sel2.name, sel2.value);
			}
			TM_HD44780_Puts(0, 0, lcd_top);
			TM_HD44780_Puts(0, 1, lcd_bot);
		}

		brightness = opt_list[0].value;
		contrast  = opt_list[1].value;
		HAL_DAC_SetValue(&hdac1, DAC_CHANNEL_1, DAC_ALIGN_12B_R, contrast);
		__HAL_TIM_SET_COMPARE(&htim16, TIM_CHANNEL_1, brightness);

		//setting sensor pwm options
		float divisor = opt_list[2].value * 1.25; //kHz * ns = 10^-6
		float counterf = 100000000.0 / divisor;
		sens_pwm_counter = counterf; // 1/(kHz * us)
		sens_pwm_compare = (opt_list[3].value * sens_pwm_counter) / 100;

		__HAL_TIM_SET_COMPARE(&htim4, TIM_CHANNEL_2, sens_pwm_compare);
		__HAL_TIM_SET_AUTORELOAD(&htim4, sens_pwm_counter);
		//HAL_TIM_PWM_Stop(&htim4, TIM_CHANNEL_2);
		//HAL_TIM_PWM_Start(&htim4, TIM_CHANNEL_2);

		HAL_UART_Transmit(&huart2, text,
				sizeof(text) ,1);
		osDelay(10);
	}
  /* USER CODE END 5 */
}

void auxTaskFxn(void const * argument)
{
  /* USER CODE BEGIN auxTaskFxn */

	// Handles the interrupts from the inputs and performs debouncing before
	// sending the data on to the default task queue.

	uint16_t db_button0 = 0;
	uint16_t db_button1 = 0;
	uint16_t db_rot1 = 0;
	uint16_t db_rot2 = 0;
	uint16_t pr_rot1 = 0; // task ticks since the last rot1 trigger
	uint16_t pr_rot2 = 0;

	uint16_t pr_max = 100;
	uint16_t db_max = 30;

	int8_t direction = -1;
	uint16_t direction_timeout = 0;
	uint16_t direction_timeout_max = 100;

	for(;;)
	{
		uint16_t button = 0;
		xQueueReceive(auxQueueHandle, &button, 0);
		switch(button) {
		case 16:{
			if(db_button0 == 0) {
				db_button0 = 200;
				xQueueSend(defaultQueueHandle, &button, 0);
			}
			break;
		}
		case 32:{
			if(db_button1 == 0) {
				db_button1 = 200;
				xQueueSend(defaultQueueHandle, &button, 0);
			}
			break;
		}
		case 1024:{
			if(db_rot1 == 0) {
				db_rot1 = db_max;
				pr_rot1 = 0;
				if(pr_rot2 < pr_max && (direction == -1 || direction == 0)){
					direction = 0;
					direction_timeout = direction_timeout_max;
					xQueueSend(defaultQueueHandle, &button, 0);
				}
			}
			break;
			}
		case 256:{
			if(db_rot2 == 0) {
				db_rot2 = db_max;
				pr_rot2 = 0;
				if(pr_rot1 < pr_max && (direction == -1 || direction == 1)){
					direction = 1;
					direction_timeout = direction_timeout_max;
					xQueueSend(defaultQueueHandle, &button, 0);
				}
			}
			break;
		}
		}
		if(db_button0 > 0) {
			db_button0 = db_button0 - 1;
		}
		if(db_button1 > 0) {
			db_button1 = db_button1 - 1;
		}
		if(db_rot1 > 0) {
			db_rot1 = db_rot1 - 1;
		}
		if(db_rot2 > 0) {
			db_rot2 = db_rot2 - 1;
		}
		if(direction_timeout > 0) {
			direction_timeout = direction_timeout - 1;
		}
		if(pr_rot1 < pr_max) {
			pr_rot1 = pr_rot1 + 1;
		}
		if(pr_rot2 < pr_max) {
			pr_rot2 = pr_rot2 + 1;
		}
		if(direction_timeout == 0) {
			direction = -1;
		}
		vTaskDelay(1);
	}
  /* USER CODE END auxTaskFxn */
}

/* timer01Callback function */
void timer01Callback(void const * argument)
{
}

void HAL_TIM_PeriodElapsedCallback(TIM_HandleTypeDef *htim)
{
  if (htim->Instance == TIM17) {
    HAL_IncTick();
  }
}

void _Error_Handler(char *file, int line)
{
  /* USER CODE BEGIN Error_Handler_Debug */
	/* User can add his own implementation to report the HAL error return state */
	while(0)
	{
	}
  /* USER CODE END Error_Handler_Debug */
}

/************************ (C) COPYRIGHT STMicroelectronics *****END OF FILE****/

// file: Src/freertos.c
/* USER CODE BEGIN Header */
/**
  ******************************************************************************
  * File Name          : freertos.c
  * Description        : Code for freertos applications
  ******************************************************************************
  * This notice applies to any and all portions of this file
  * that are not between comment pairs USER CODE BEGIN and
  * USER CODE END. Other portions of this file, whether
  * inserted by the user or by software development tools
  * are owned by their respective copyright owners.
  *
  * Copyright (c) 2018 STMicroelectronics International N.V.
  * All rights reserved.
  *
  * Redistribution and use in source and binary forms, with or without
  * modification, are permitted, provided that the following conditions are met:
  *
  * 1. Redistribution of source code must retain the above copyright notice,
  *    this list of conditions and the following disclaimer.
  * 2. Redistributions in binary form must reproduce the above copyright notice,
  *    this list of conditions and the following disclaimer in the documentation
  *    and/or other materials provided with the distribution.
  * 3. Neither the name of STMicroelectronics nor the names of other
  *    contributors to this software may be used to endorse or promote products
  *    derived from this software without specific written permission.
  * 4. This software, including modifications and/or derivative works of this
  *    software, must execute solely and exclusively on microcontroller or
  *    microprocessor devices manufactured by or for STMicroelectronics.
  * 5. Redistribution and use of this software other than as permitted under
  *    this license is void and will automatically terminate your rights under
  *    this license.
  *
  * THIS SOFTWARE IS PROVIDED BY STMICROELECTRONICS AND CONTRIBUTORS "AS IS"
  * AND ANY EXPRESS, IMPLIED OR STATUTORY WARRANTIES, INCLUDING, BUT NOT
  * LIMITED TO, THE IMPLIED WARRANTIES OF MERCHANTABILITY, FITNESS FOR A
  * PARTICULAR PURPOSE AND NON-INFRINGEMENT OF THIRD PARTY INTELLECTUAL PROPERTY
  * RIGHTS ARE DISCLAIMED TO THE FULLEST EXTENT PERMITTED BY LAW. IN NO EVENT
  * SHALL STMICROELECTRONICS OR CONTRIBUTORS BE LIABLE FOR ANY DIRECT, INDIRECT,
  * INCIDENTAL, SPECIAL, EXEMPLARY, OR CONSEQUENTIAL DAMAGES (INCLUDING, BUT NOT
  * LIMITED TO, PROCUREMENT OF SUBSTITUTE GOODS OR SERVICES; LOSS OF USE, DATA,
  * OR PROFITS; OR BUSINESS INTERRUPTION) HOWEVER CAUSED AND ON ANY THEORY OF
  * LIABILITY, WHETHER IN CONTRACT, STRICT LIABILITY, OR TORT (INCLUDING
  * NEGLIGENCE OR OTHERWISE) ARISING IN ANY WAY OUT OF THE USE OF THIS SOFTWARE,
  * EVEN IF ADVISED OF THE POSSIBILITY OF SUCH DAMAGE.
  *
  ******************************************************************************
  */
/* USER CODE END Header */

#include "FreeRTOS.h"
#include "task.h"
#include "main.h"

/* Pre/Post sleep processing prototypes */
void PreSleepProcessing(uint32_t *ulExpectedIdleTime);
void PostSleepProcessing(uint32_t *ulExpectedIdleTime);

/* GetIdleTaskMemory prototype (linked to static allocation support) */
void vApplicationGetIdleTaskMemory( StaticTask_t **ppxIdleTaskTCBBuffer, StackType_t **ppxIdleTaskStackBuffer, uint32_t *pulIdleTaskStackSize );

/* GetTimerTaskMemory prototype (linked to static allocation support) */
void vApplicationGetTimerTaskMemory( StaticTask_t **ppxTimerTaskTCBBuffer, StackType_t **ppxTimerTaskStackBuffer, uint32_t *pulTimerTaskStackSize );

/* USER CODE BEGIN PREPOSTSLEEP */
__weak void PreSleepProcessing(uint32_t *ulExpectedIdleTime)
{
/* place for user code */
}

__weak void PostSleepProcessing(uint32_t *ulExpectedIdleTime)
{
/* place for user code */
}
/* USER CODE END PREPOSTSLEEP */

/* USER CODE BEGIN GET_IDLE_TASK_MEMORY */
static StaticTask_t xIdleTaskTCBBuffer;
static StackType_t xIdleStack[configMINIMAL_STACK_SIZE];

void vApplicationGetIdleTaskMemory( StaticTask_t **ppxIdleTaskTCBBuffer, StackType_t **ppxIdleTaskStackBuffer, uint32_t *pulIdleTaskStackSize )
{
  *ppxIdleTaskTCBBuffer = &xIdleTaskTCBBuffer;
  *ppxIdleTaskStackBuffer = &xIdleStack[0];
  *pulIdleTaskStackSize = configMINIMAL_STACK_SIZE;
  /* place for user code */
}
/* USER CODE END GET_IDLE_TASK_MEMORY */

/* USER CODE BEGIN GET_TIMER_TASK_MEMORY */
static StaticTask_t xTimerTaskTCBBuffer;
static StackType_t xTimerStack[configTIMER_TASK_STACK_DEPTH];

void vApplicationGetTimerTaskMemory( StaticTask_t **ppxTimerTaskTCBBuffer, StackType_t **ppxTimerTaskStackBuffer, uint32_t *pulTimerTaskStackSize )
{
  *ppxTimerTaskTCBBuffer = &xTimerTaskTCBBuffer;
  *ppxTimerTaskStackBuffer = &xTimerStack[0];
  *pulTimerTaskStackSize = configTIMER_TASK_STACK_DEPTH;
  /* place for user code */
}
/* USER CODE END GET_TIMER_TASK_MEMORY */

/************************ (C) COPYRIGHT STMicroelectronics *****END OF FILE****/
